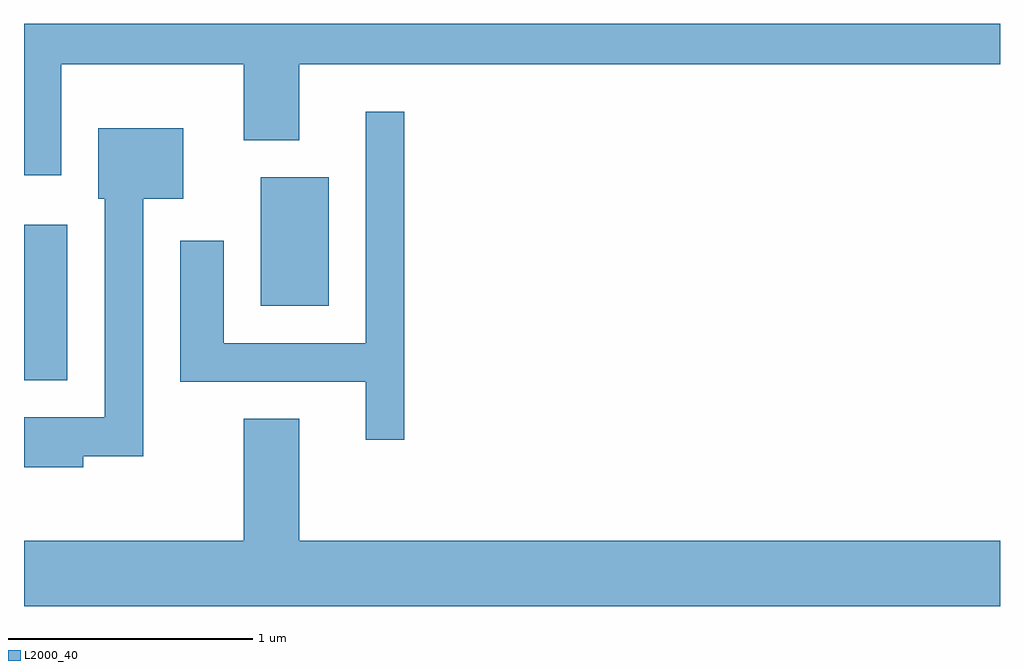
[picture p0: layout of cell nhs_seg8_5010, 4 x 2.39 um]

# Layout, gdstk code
import gdstk
lib = gdstk.Library(unit=1e-6, precision=1e-09)
def R(c, l, rs):  # rectangles x0, y0, x1, y1
    for r in rs: c.add(gdstk.rectangle(r[:2], r[2:], *l))
def P(c, l, *ps):  # polygons
    for p in ps: c.add(gdstk.Polygon(p, *l))
L2000_40 = (2000, 40)

nhs_seg8_5010 = lib.new_cell('nhs_seg8_5010')
R(nhs_seg8_5010, L2000_40, [(335.611,1852.881,335.789,1853.519), (336.581,1853.186,336.859,1853.714)])
P(nhs_seg8_5010, L2000_40, [(335.764,1854.176),(336.511,1854.176),(336.511,1853.866),(336.739,1853.866),(336.739,1854.176),(339.611,1854.176),(339.611,1854.342),(335.611,1854.342),(335.611,1853.721),(335.764,1853.721)],
  [(337.169,1853.983),(337.011,1853.983),(337.011,1853.034),(336.429,1853.034),(336.429,1853.454),(336.251,1853.454),(336.251,1852.876),(337.011,1852.876),(337.011,1852.638),(337.169,1852.638)],
  [(335.854,1852.571),(336.099,1852.571),(336.099,1853.626),(336.264,1853.626),(336.264,1853.914),(335.916,1853.914),(335.916,1853.626),(335.941,1853.626),(335.941,1852.729),(335.611,1852.729),(335.611,1852.526),(335.854,1852.526)],
  [(339.611,1852.224),(336.739,1852.224),(336.739,1852.724),(336.511,1852.724),(336.511,1852.224),(335.611,1852.224),(335.611,1851.956),(339.611,1851.956)])

lib.write_gds('nhs_seg8_5010.gds')
